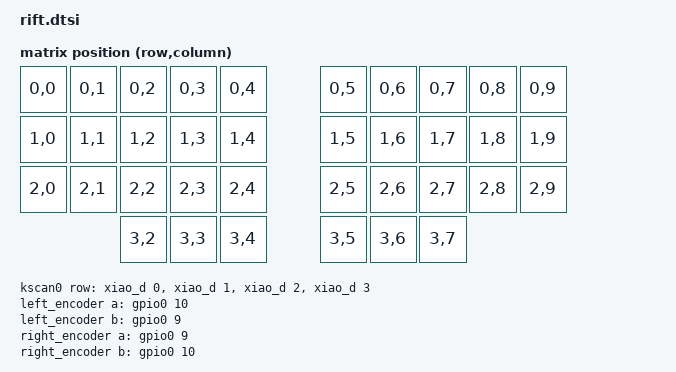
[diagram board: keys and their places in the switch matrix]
#include <dt-bindings/zmk/matrix_transform.h>

&xiao_serial { status = "disabled"; };

/*
 * XIAO         4HC595
 *  9 (SCK)     11 (SRCLK, Clock)
 * 10 (MISO)    12 (RCLK, Latch)
 * 11 (MOSI)    14 (SER, Data)
 * 12 (3V3)     16 (Vcc), 10 (SRCLR)
 * 13 (GND)      8 (GND), 13 (OE)
 */

&xiao_spi {
    status = "okay";
    cs-gpios = <&gpio1 14 GPIO_ACTIVE_LOW>; // D9 (MISO) (pin 10)
	shifter: 595@0 {
		compatible = "zmk,gpio-595";
		status = "okay";
		gpio-controller;
		spi-max-frequency = <200000>;
		reg = <0>;
		#gpio-cells = <2>;
		ngpios = <8>;
	};
};

/ {
    chosen {
        zmk,kscan = &kscan0;
        zmk,matrix-transform = &default_transform;
    };

    default_transform: keymap_transform_0 {
        compatible = "zmk,matrix-transform";
        columns = <10>;
        rows = <4>;
        map = <
RC(0,0) RC(0,1) RC(0,2) RC(0,3) RC(0,4)  RC(0,5) RC(0,6) RC(0,7) RC(0,8) RC(0,9)
RC(1,0) RC(1,1) RC(1,2) RC(1,3) RC(1,4)  RC(1,5) RC(1,6) RC(1,7) RC(1,8) RC(1,9)
RC(2,0) RC(2,1) RC(2,2) RC(2,3) RC(2,4)  RC(2,5) RC(2,6) RC(2,7) RC(2,8) RC(2,9)
                RC(3,2) RC(3,3) RC(3,4)  RC(3,5) RC(3,6) RC(3,7)
        >;
    };

    kscan0: kscan {
        compatible = "zmk,kscan-gpio-matrix";
        wakeup-source;
        diode-direction = "col2row";
        row-gpios
            = <&xiao_d 0 (GPIO_ACTIVE_HIGH | GPIO_PULL_DOWN)>
            , <&xiao_d 1 (GPIO_ACTIVE_HIGH | GPIO_PULL_DOWN)>
            , <&xiao_d 2 (GPIO_ACTIVE_HIGH | GPIO_PULL_DOWN)>
            , <&xiao_d 3 (GPIO_ACTIVE_HIGH | GPIO_PULL_DOWN)>
            ;
    };

    left_encoder: encoder_left {
		compatible = "alps,ec11";
		status = "disabled";
		steps = <80>;
        a-gpios = <&gpio0 10 (GPIO_ACTIVE_HIGH | GPIO_PULL_UP)>;
        b-gpios = <&gpio0 9 (GPIO_ACTIVE_HIGH | GPIO_PULL_UP)>;
	};

	right_encoder: encoder_right {
		compatible = "alps,ec11";
		status = "disabled";
		steps = <80>;
        a-gpios = <&gpio0 9 (GPIO_ACTIVE_HIGH | GPIO_PULL_UP)>;
        b-gpios = <&gpio0 10 (GPIO_ACTIVE_HIGH | GPIO_PULL_UP)>;
	};

	sensors {
		compatible = "zmk,keymap-sensors";
		sensors = <&left_encoder &right_encoder>;
		triggers-per-rotation = <20>;
	};

    // Dedicated switch for soft off
    keys {
        compatible = "gpio-keys";
        soft_off_key: soft_off_key {
            gpios = <&xiao_d 7 (GPIO_ACTIVE_LOW | GPIO_PULL_UP)>; // D7
        };
    };
};
